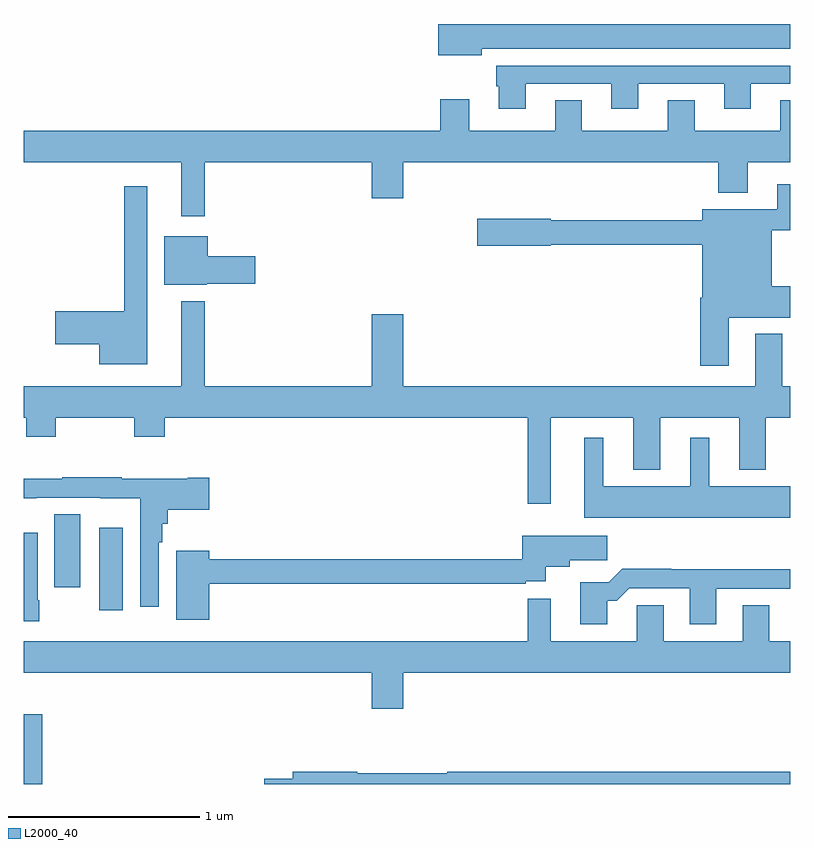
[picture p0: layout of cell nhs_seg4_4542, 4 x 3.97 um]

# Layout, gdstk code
import gdstk
lib = gdstk.Library(unit=1e-6, precision=1e-09)
def R(c, l, rs):  # rectangles x0, y0, x1, y1
    for r in rs: c.add(gdstk.rectangle(r[:2], r[2:], *l))
def P(c, l, *ps):  # polygons
    for p in ps: c.add(gdstk.Polygon(p, *l))
L2000_40 = (2000, 40)

nhs_seg4_4542 = lib.new_cell('nhs_seg4_4542')
R(nhs_seg4_4542, L2000_40, [(355,802.9,355.097,803.264), (355.394,803.808,355.516,804.238), (355.16,803.928,355.294,804.308)])
P(nhs_seg4_4542, L2000_40, [(357.391,806.738),(359,806.738),(359,806.866),(357.162,806.866),(357.162,806.702),(357.391,806.702)],
  [(357.619,806.553),(358.067,806.553),(358.067,806.424),(358.207,806.424),(358.207,806.553),(358.655,806.553),(358.655,806.424),(358.795,806.424),(358.795,806.553),(359,806.553),(359,806.649),(357.467,806.649),(357.467,806.541),(357.479,806.541),(357.479,806.424),(357.619,806.424)],
  [(355.945,806.144),(356.816,806.144),(356.816,805.956),(356.98,805.956),(356.98,806.144),(358.625,806.144),(358.625,805.985),(358.777,805.985),(358.777,806.144),(359,806.144),(359,806.468),(358.949,806.468),(358.949,806.308),(358.501,806.308),(358.501,806.468),(358.361,806.468),(358.361,806.308),(357.913,806.308),(357.913,806.468),(357.773,806.468),(357.773,806.308),(357.325,806.308),(357.325,806.473),(357.173,806.473),(357.173,806.308),(355,806.308),(355,806.144),(355.823,806.144),(355.823,805.863),(355.945,805.863)],
  [(358.678,805.334),(359,805.334),(359,805.498),(358.903,805.498),(358.903,805.791),(359,805.791),(359,806.029),(358.931,806.029),(358.931,805.9),(358.541,805.9),(358.541,805.843),(357.75,805.843),(357.75,805.851),(357.366,805.851),(357.366,805.709),(357.75,805.709),(357.75,805.714),(358.541,805.714),(358.541,805.438),(358.529,805.438),(358.529,805.083),(358.678,805.083)],
  [(355.645,806.02),(355.524,806.02),(355.524,805.367),(355.164,805.367),(355.164,805.196),(355.394,805.196),(355.394,805.091),(355.645,805.091)],
  [(355.956,805.511),(356.209,805.511),(356.209,805.653),(355.96,805.653),(355.96,805.759),(355.733,805.759),(355.733,805.505),(355.956,805.505)],
  [(356.98,805.351),(356.816,805.351),(356.816,804.976),(355.945,804.976),(355.945,805.42),(355.823,805.42),(355.823,804.976),(355,804.976),(355,804.812),(355.012,804.812),(355.012,804.713),(355.167,804.713),(355.167,804.812),(355.576,804.812),(355.576,804.713),(355.736,804.713),(355.736,804.812),(357.63,804.812),(357.63,804.363),(357.751,804.363),(357.751,804.812),(358.181,804.812),(358.181,804.539),(358.321,804.539),(358.321,804.812),(358.733,804.812),(358.733,804.539),(358.873,804.539),(358.873,804.812),(359,804.812),(359,804.976),(358.957,804.976),(358.957,805.249),(358.817,805.249),(358.817,804.976),(356.98,804.976)],
  [(359,804.454),(358.576,804.454),(358.576,804.706),(358.478,804.706),(358.478,804.454),(358.024,804.454),(358.024,804.706),(357.926,804.706),(357.926,804.29),(359,804.29)],
  [(355.704,804.161),(355.724,804.161),(355.724,804.257),(355.751,804.257),(355.751,804.332),(355.969,804.332),(355.969,804.498),(355.856,804.498),(355.856,804.492),(355.511,804.492),(355.511,804.502),(355.201,804.502),(355.201,804.492),(355,804.492),(355,804.392),(355.064,804.392),(355.064,804.393),(355.398,804.393),(355.398,804.392),(355.608,804.392),(355.608,803.826),(355.704,803.826)],
  [(355.08,803.86),(355.072,803.86),(355.072,804.211),(355,804.211),(355,803.748),(355.08,803.748)],
  [(355.967,803.946),(357.62,803.946),(357.62,803.958),(357.724,803.958),(357.724,804.035),(357.85,804.035),(357.85,804.067),(358.045,804.067),(358.045,804.196),(357.602,804.196),(357.602,804.074),(355.967,804.074),(355.967,804.118),(355.796,804.118),(355.796,803.757),(355.967,803.757)],
  [(358.045,803.855),(358.094,803.855),(358.161,803.922),(358.475,803.922),(358.475,803.733),(358.615,803.733),(358.615,803.919),(359,803.919),(359,804.02),(358.379,804.02),(358.379,804.023),(358.124,804.023),(358.054,803.953),(357.905,803.953),(357.905,803.733),(358.045,803.733)],
  [(356.98,803.48),(359,803.48),(359,803.644),(358.891,803.644),(358.891,803.834),(358.751,803.834),(358.751,803.644),(358.339,803.644),(358.339,803.834),(358.2,803.834),(358.2,803.644),(357.751,803.644),(357.751,803.866),(357.63,803.866),(357.63,803.644),(355,803.644),(355,803.48),(356.816,803.48),(356.816,803.292),(356.98,803.292)],
  [(359,802.964),(357.209,802.964),(357.209,802.957),(356.74,802.957),(356.74,802.964),(356.405,802.964),(356.405,802.928),(356.256,802.928),(356.256,802.9),(359,802.9)])

lib.write_gds('nhs_seg4_4542.gds')
